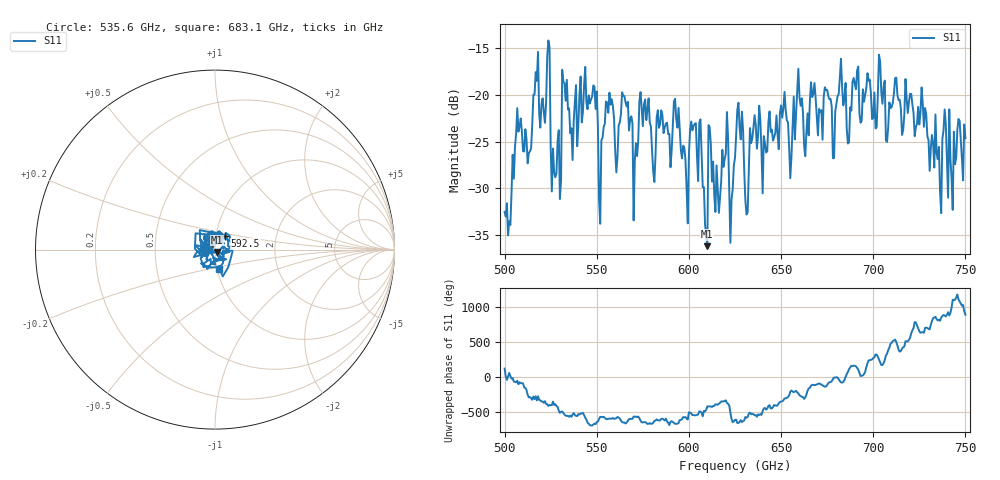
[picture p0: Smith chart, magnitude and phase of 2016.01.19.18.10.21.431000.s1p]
!Created with skrf (http://scikit-rf.org).
# GHz S RI R 50.0
!freq ReS11 ImS11
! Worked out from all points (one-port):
!   401 points, 500 GHz to 750 GHz, reference 50 ohm
!   lowest |S11| = -36.2 dB at 610 GHz (marker M1), VSWR 1.03, Z = 50.9 - j1.31 ohm
!   |S11| at or under -10 dB: start of sweep to end of sweep
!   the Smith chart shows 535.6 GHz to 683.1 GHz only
!   S11 on the Smith chart (normalised r, x): 535.6 GHz: 0.88, +0.02; 592.5 GHz: 1.11, +0.17; 683.1 GHz: 1.03, -0.22
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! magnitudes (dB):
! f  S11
! 500 GHz  -32.5
! 507.5 GHz  -23.9
! 513.8 GHz  -26.0
! 516.9 GHz  -17.6
! 523.8 GHz  -14.2
! 526.9 GHz  -28.3
! 531.2 GHz  -17.3
! 535.6 GHz  -24.1
! 548.8 GHz  -19.1
! 552.5 GHz  -24.9
! 556.2 GHz  -21.9
! 562.5 GHz  -22.9
! 571.2 GHz  -25.2
! 574.4 GHz  -21.4
! 580.6 GHz  -28.2
! 592.5 GHz  -20.4
! 593.8 GHz  -23.5
! 610 GHz  -36.2
! 625 GHz  -26.7
! 628.1 GHz  -24.8
! 631.2 GHz  -32.8
! 634.4 GHz  -24.7
! 656.2 GHz  -23.4
! 683.1 GHz  -19.2
! 687.5 GHz  -21.3
! 718.8 GHz  -21.9
! 735.6 GHz  -25.6
! 750 GHz  -24.6
